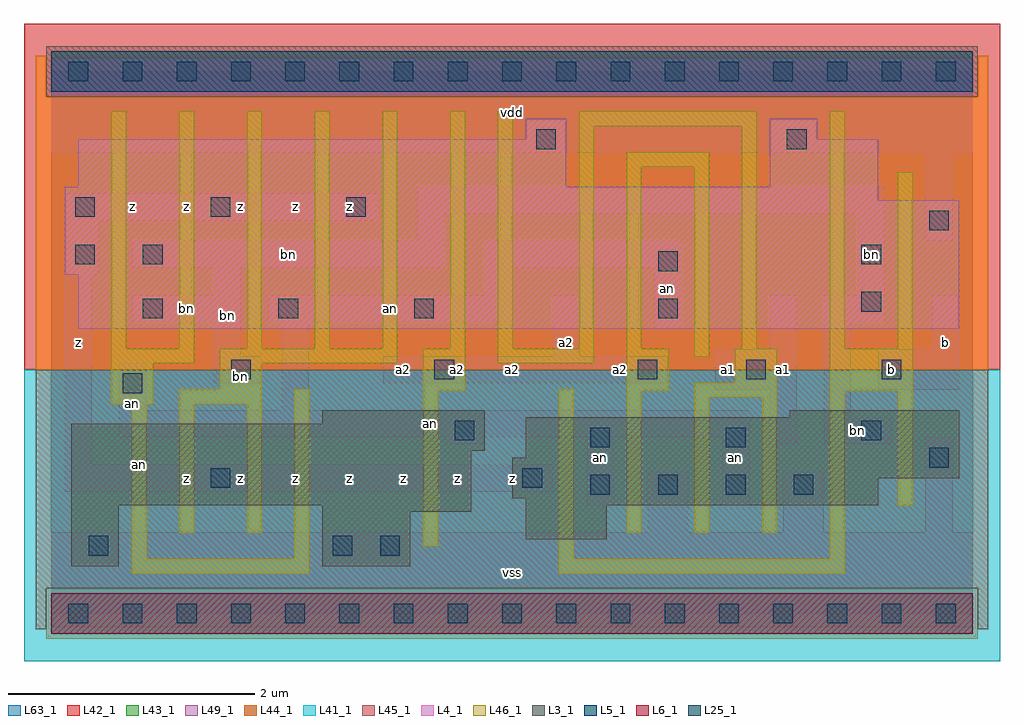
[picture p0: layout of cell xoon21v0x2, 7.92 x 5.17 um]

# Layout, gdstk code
import gdstk
lib = gdstk.Library(unit=1e-6, precision=1e-09)
def R(c, l, rs):  # rectangles x0, y0, x1, y1
    for r in rs: c.add(gdstk.rectangle(r[:2], r[2:], *l))
def A(c, l, x, y, w, h, nx, ny, dx, dy):  # array of equal rectangles
    R(c, l, [(x+i*dx, y+j*dy, x+i*dx+w, y+j*dy+h) for i in range(nx) for j in range(ny)])
L3_1 = (3, 1)
L4_1 = (4, 1)
L5_1 = (5, 1)
L6_1 = (6, 1)
L25_1 = (25, 1)
L41_1 = (41, 1)
L42_1 = (42, 1)
L43_1 = (43, 1)
L44_1 = (44, 1)
L45_1 = (45, 1)
L46_1 = (46, 1)
L49_1 = (49, 1)
L63_1 = (63, 1)

xoon21v0x2 = lib.new_cell('xoon21v0x2')
R(xoon21v0x2, L3_1, [(0.165,0.385,0.55,0.88), (2.2,0.385,2.915,0.825), (3.85,0.605,4.51,0.88), (2.2,0.825,3.41,0.88), (0.165,0.88,3.41,1.32), (3.85,0.88,6.71,0.935), (3.74,0.935,6.71,1.1), (3.74,1.1,7.37,1.265), (3.85,1.265,7.37,1.595), (0.165,1.32,3.52,1.54), (2.2,1.54,3.52,1.65), (5.995,1.595,7.37,1.65)])
R(xoon21v0x2, L4_1, [(0.22,2.31,7.37,2.75), (0.11,2.75,7.37,3.355), (0.11,3.355,6.71,3.465), (0.22,3.465,4.18,3.85), (5.83,3.465,6.71,3.85), (3.85,3.85,4.18,4.015), (5.83,3.85,6.215,4.015)])
R(xoon21v0x2, L5_1, [(0,4.235,7.48,4.565)])
R(xoon21v0x2, L6_1, [(0,-0.165,7.48,0.165)])
A(xoon21v0x2, L25_1, 0.14, -0.08, 0.16, 0.16, 17, 2, 0.44, 4.4)
A(xoon21v0x2, L25_1, 4.375, 0.965, 0.16, 0.16, 4, 1, 0.55, 0)
A(xoon21v0x2, L25_1, 1.46, 1.9, 0.16, 0.16, 3, 1, 1.65, 0)
A(xoon21v0x2, L25_1, 0.745, 2.395, 0.16, 0.16, 3, 1, 1.1, 0)
A(xoon21v0x2, L25_1, 0.195, 3.22, 0.16, 0.16, 3, 1, 1.1, 0)
R(xoon21v0x2, L25_1, [(0.305,0.47,0.465,0.63), (2.285,0.47,2.445,0.63), (2.67,0.47,2.83,0.63), (1.295,1.02,1.455,1.18), (3.825,1.02,3.985,1.18), (7.125,1.185,7.285,1.345), (4.375,1.35,4.535,1.51), (5.475,1.35,5.635,1.51), (3.275,1.405,3.435,1.565), (6.575,1.405,6.735,1.565), (0.58,1.79,0.74,1.95), (5.64,1.9,5.8,2.06), (6.74,1.9,6.9,2.06), (4.925,2.395,5.085,2.555), (6.575,2.45,6.735,2.61), (4.925,2.78,5.085,2.94), (0.195,2.835,0.355,2.995), (0.745,2.835,0.905,2.995), (6.575,2.835,6.735,2.995), (7.125,3.11,7.285,3.27), (3.935,3.77,4.095,3.93), (5.97,3.77,6.13,3.93)])
R(xoon21v0x2, L41_1, [(-0.22,-0.385,7.7,1.98)])
R(xoon21v0x2, L42_1, [(-0.22,1.98,7.7,4.785)])
R(xoon21v0x2, L43_1, [(0,-0.165,7.48,0.165), (0.165,0.385,0.55,0.88), (2.2,0.385,2.915,0.825), (3.85,0.605,4.51,0.88), (2.2,0.825,3.41,0.88), (0.165,0.88,3.41,1.32), (3.85,0.88,6.71,0.935), (3.74,0.935,6.71,1.1), (3.74,1.1,7.37,1.265), (3.85,1.265,7.37,1.595), (0.165,1.32,3.52,1.54), (2.2,1.54,3.52,1.65), (5.995,1.595,7.37,1.65), (0.22,2.31,7.37,2.75), (0.11,2.75,7.37,3.355), (0.11,3.355,6.71,3.465), (0.22,3.465,4.18,3.85), (5.83,3.465,6.71,3.85), (3.85,3.85,4.18,4.015), (5.83,3.85,6.215,4.015), (0,4.235,7.48,4.565)])
R(xoon21v0x2, L44_1, [(-0.04,-0.205,7.52,0.205), (-0.125,1.98,7.605,4.195), (-0.125,4.195,-0.04,4.525), (7.52,4.195,7.605,4.525)])
R(xoon21v0x2, L45_1, [(-0.125,-0.125,-0.04,0.205), (7.52,-0.125,7.605,0.205), (-0.125,0.205,7.605,1.98), (-0.04,4.195,7.52,4.605)])
A(xoon21v0x2, L46_1, 0.49, 2.15, 0.12, 1.925, 6, 1, 0.55, 0)
R(xoon21v0x2, L46_1, [(0.655,0.325,2.095,0.445), (4.12,0.325,6.44,0.445), (0.655,0.445,0.775,1.7), (1.975,0.445,2.095,1.82), (4.12,0.445,4.24,1.82), (6.32,0.445,6.44,1.81), (3.02,0.545,3.14,1.81), (1.04,0.655,1.16,1.7), (1.59,0.655,1.71,1.7), (4.67,0.655,4.79,1.81), (5.22,0.655,5.34,1.755), (5.77,0.655,5.89,1.755), (6.87,0.875,6.99,1.81), (0.49,1.7,0.83,2.03), (1.04,1.7,1.71,1.82), (5.22,1.755,5.89,1.875), (3.02,1.81,3.36,2.15), (4.67,1.81,5.01,2.15), (6.32,1.81,6.99,2.15), (1.37,1.82,1.71,2.03), (5.55,1.875,5.89,2.15), (0.49,2.03,1.16,2.15), (1.37,2.03,2.81,2.15), (3.625,2.03,4.405,2.15), (5.22,2.085,5.34,3.625), (3.625,2.15,3.745,4.075), (4.285,2.15,4.405,3.955), (4.67,2.15,4.79,3.625), (5.605,2.15,5.725,3.955), (6.32,2.15,6.44,4.075), (6.87,2.15,6.99,3.58), (4.67,3.625,5.34,3.745), (4.285,3.955,5.725,4.075)])
R(xoon21v0x2, L49_1, [(0,-0.11,7.48,0.66), (4.84,0.66,5.17,1.155), (5.94,0.66,6.27,1.155), (7.095,0.66,7.315,1.43), (4.345,0.88,4.565,1.43), (5.445,0.88,5.665,1.43), (0.11,0.99,4.07,1.21), (0.11,1.21,0.33,2.75), (3.19,1.375,3.52,1.43), (5.83,1.375,6.05,1.815), (6.27,1.375,6.82,1.595), (0.55,1.43,5.665,1.65), (6.27,1.595,6.49,2.365), (0.55,1.65,0.77,2.035), (1.87,1.65,2.09,2.365), (5.39,1.815,6.05,2.145), (6.71,1.815,7.37,2.145), (1.32,1.87,1.705,2.09), (2.695,1.87,5.005,2.09), (1.32,2.09,1.54,2.365), (4.07,2.09,4.29,2.585), (5.83,2.145,6.05,2.585), (7.15,2.145,7.37,2.585), (4.895,2.31,5.115,2.805), (0.66,2.365,1.54,2.585), (1.76,2.365,3.74,2.585), (6.27,2.365,6.765,2.585), (1.32,2.585,1.54,2.805), (3.52,2.585,3.74,2.805), (6.545,2.585,6.765,3.245), (0.11,2.75,0.385,3.19), (0.66,2.805,3.19,3.025), (3.52,2.805,5.115,3.025), (2.97,3.025,3.19,3.245), (7.095,3.025,7.315,3.74), (0.11,3.19,2.64,3.41), (2.97,3.245,6.765,3.465), (0,3.74,7.48,4.51)])
R(xoon21v0x2, L63_1, [(0,0,7.48,4.4)])
xoon21v0x2.add(gdstk.Label('an', (0.715,1.21), layer=46, texttype=1))
xoon21v0x2.add(gdstk.Label('bn', (1.54,1.925), layer=49, texttype=1))
xoon21v0x2.add(gdstk.Label('z', (0.66,1.1), layer=49, texttype=1))
xoon21v0x2.add(gdstk.Label('z', (1.1,1.1), layer=49, texttype=1))
xoon21v0x2.add(gdstk.Label('an', (0.66,1.705), layer=49, texttype=1))
xoon21v0x2.add(gdstk.Label('z', (0.22,2.2), layer=49, texttype=1))
xoon21v0x2.add(gdstk.Label('z', (0.66,3.3), layer=49, texttype=1))
xoon21v0x2.add(gdstk.Label('z', (1.1,3.3), layer=49, texttype=1))
xoon21v0x2.add(gdstk.Label('z', (1.54,1.1), layer=49, texttype=1))
xoon21v0x2.add(gdstk.Label('z', (1.98,1.1), layer=49, texttype=1))
xoon21v0x2.add(gdstk.Label('z', (2.42,1.1), layer=49, texttype=1))
xoon21v0x2.add(gdstk.Label('bn', (1.1,2.475), layer=49, texttype=1))
xoon21v0x2.add(gdstk.Label('bn', (1.43,2.42), layer=49, texttype=1))
xoon21v0x2.add(gdstk.Label('z', (1.54,3.3), layer=49, texttype=1))
xoon21v0x2.add(gdstk.Label('z', (1.98,3.3), layer=49, texttype=1))
xoon21v0x2.add(gdstk.Label('z', (2.42,3.3), layer=49, texttype=1))
xoon21v0x2.add(gdstk.Label('vss', (3.74,0.33), layer=49, texttype=1))
xoon21v0x2.add(gdstk.Label('z', (2.86,1.1), layer=49, texttype=1))
xoon21v0x2.add(gdstk.Label('z', (3.3,1.1), layer=49, texttype=1))
xoon21v0x2.add(gdstk.Label('z', (3.74,1.1), layer=49, texttype=1))
xoon21v0x2.add(gdstk.Label('a2', (2.86,1.98), layer=49, texttype=1))
xoon21v0x2.add(gdstk.Label('an', (2.75,2.475), layer=49, texttype=1))
xoon21v0x2.add(gdstk.Label('a2', (3.3,1.98), layer=49, texttype=1))
xoon21v0x2.add(gdstk.Label('a2', (3.74,1.98), layer=49, texttype=1))
xoon21v0x2.add(gdstk.Label('a2', (4.18,2.2), layer=49, texttype=1))
xoon21v0x2.add(gdstk.Label('bn', (1.925,2.915), layer=49, texttype=1))
xoon21v0x2.add(gdstk.Label('vdd', (3.74,4.07), layer=49, texttype=1))
xoon21v0x2.add(gdstk.Label('an', (5.555,1.265), layer=49, texttype=1))
xoon21v0x2.add(gdstk.Label('an', (4.455,1.265), layer=49, texttype=1))
xoon21v0x2.add(gdstk.Label('an', (3.08,1.54), layer=49, texttype=1))
xoon21v0x2.add(gdstk.Label('a2', (4.62,1.98), layer=49, texttype=1))
xoon21v0x2.add(gdstk.Label('a1', (5.5,1.98), layer=49, texttype=1))
xoon21v0x2.add(gdstk.Label('a1', (5.94,1.98), layer=49, texttype=1))
xoon21v0x2.add(gdstk.Label('an', (5.005,2.64), layer=49, texttype=1))
xoon21v0x2.add(gdstk.Label('bn', (6.545,1.485), layer=49, texttype=1))
xoon21v0x2.add(gdstk.Label('b', (6.82,1.98), layer=49, texttype=1))
xoon21v0x2.add(gdstk.Label('b', (7.26,2.2), layer=49, texttype=1))
xoon21v0x2.add(gdstk.Label('bn', (6.655,2.915), layer=49, texttype=1))

lib.write_gds('xoon21v0x2.gds')
